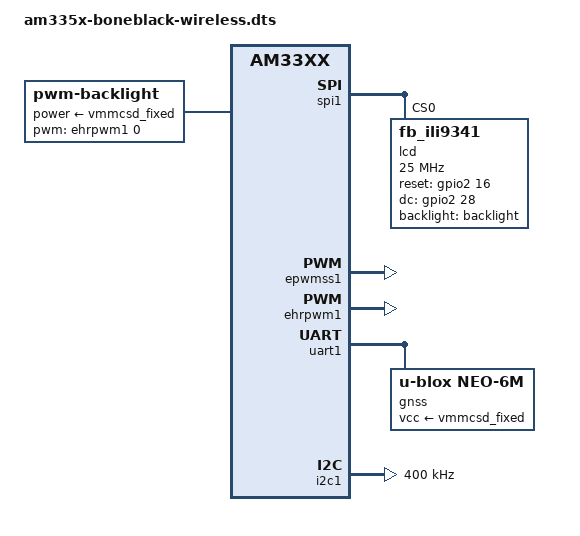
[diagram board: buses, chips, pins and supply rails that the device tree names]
// SPDX-License-Identifier: GPL-2.0-only
/*
 * Copyright (C) 2012 Texas Instruments Incorporated - https://www.ti.com/
 */
/dts-v1/;
 
#include "am33xx.dtsi"
#include "am335x-bone-common.dtsi"
#include "am335x-boneblack-common.dtsi"
/ {
    compatible = "ti,am335x-bone-black", "ti,am335x-bone", "ti,am33xx";
      exclusive-use =
        /* the pin header uses */
        "P8.13",    /* EHRPWM2B - ZONE 6 PWM */
        "P8.19",    /* EHRPWM2A - ZONE 4 PWM */
        "P9.14",    /* EHRPWM1A - ZONE 3 PWM */
        "P9.16",    /* EHRPWM1B - ZONE 5 PWM */
        "P9.21",    /* EHRPWM0A - ZONE 2 PWM */
        "P9.22",    /* EHRPWM0B - ZONE 1 PWM */
        /* the hardware ip uses */
        "ehrpwm0A",
        "ehrpwm0B",
        "ehrpwm1A",
        "ehrpwm1B",
        "ehrpwm2A",
        "ehrpwm2B";
     
    backlight: backlight {
        compatible = "pwm-backlight";
        pinctrl-names = "default";
        pinctrl-0 = <&pwm_bl_pins>;
        pwms = <&ehrpwm1 0 500000 0>;
        pwm-names = "backlight";
        brightness-levels = <0 4 8 16 32 64 128 255>;
        default-brightness-level = <7>; /* index to the array above */
        power-supply = <&vmmcsd_fixed>;
        };
};
 
&am33xx_pinmux {
    spi1_pins: pinmux_spi1_pins{
        pinctrl-single,pins = <
            AM33XX_PADCONF( AM335X_PIN_MCASP0_ACLKX,  PIN_INPUT_PULLUP, MUX_MODE3 )  // P9_31: spi1 clk out
            AM33XX_PADCONF( AM335X_PIN_MCASP0_FSX,    PIN_INPUT_PULLUP, MUX_MODE3 )  // P9_29: spi1 d0 /data in (miso)
            AM33XX_PADCONF( AM335X_PIN_MCASP0_AXR0,   PIN_INPUT_PULLUP, MUX_MODE3 )  // P9_30: spi1 d1 / data out (mosi)
            AM33XX_PADCONF( AM335X_PIN_MCASP0_AHCLKR, PIN_INPUT_PULLUP, MUX_MODE3 )  // P9_28: spi1 cs 0 out
        >;
    };
    uart1_pins: pinmux_uart1_pins {
        pinctrl-single,pins = <
            AM33XX_PADCONF(AM335X_PIN_UART1_RXD, PIN_INPUT_PULLUP, MUX_MODE0)
            AM33XX_PADCONF(AM335X_PIN_UART1_TXD, PIN_OUTPUT_PULLDOWN, MUX_MODE0)
            AM33XX_PADCONF(AM335X_PIN_UART1_CTSN, PIN_INPUT, MUX_MODE0)
            AM33XX_PADCONF(AM335X_PIN_UART1_RTSN, PIN_OUTPUT_PULLDOWN, MUX_MODE0)
        >;
    };
    i2c1_pins: pinmux_i2c1_pins {
        pinctrl-single,pins = <
            AM33XX_PADCONF(AM335X_PIN_SPI0_D1, PIN_INPUT_PULLUP, MUX_MODE2) /* p9.18.i2c1_sda */
            AM33XX_PADCONF(AM335X_PIN_SPI0_CS0, PIN_INPUT_PULLUP, MUX_MODE2)    /* P9.17.i2c1_scl */
        >;
    };
    lcd_ctrl_pins: lcd_ctrl_pins {
        pinctrl-single,pins = <
            AM33XX_PADCONF(AM335X_PIN_GPMC_A0,  PIN_OUTPUT_PULLUP, MUX_MODE7)   /* P9_15: gpio1_16 reset, OUTPUT_PULLUP | MODE7 */
            AM33XX_PADCONF(AM335X_PIN_GPMC_BEN1,  PIN_OUTPUT_PULLUP, MUX_MODE7) /* P9_12: gpio1_28 DC, OUTPUT_PULLUP | MODE7 */
        >;
    };
 
    pwm_bl_pins: pwm_bl_pins {
        pinctrl-single,pins = <
            AM33XX_PADCONF(AM335X_PIN_GPMC_A2, PIN_OUTPUT_PULLDOWN, MUX_MODE6)  /* P9_14: ehrpwm1a, MODE6 */
        >;
    };
};
 
&mac {
    status = "disabled";
};
 
&spi1 {
    status="okay";
    pinctrl-names = "default";
    pinctrl-0 = <&spi1_pins>;
};
 
&spi1 {
    lcd@0{
        reg = <0>;
        compatible = "fb_ili9341";
        status="okay";
        pinctrl-names = "default";
        #address-cells = <1>;
        #size-cells = <0>;
        pinctrl-0 = <&lcd_ctrl_pins>;
        spi-max-frequency = <25000000>;
        rotate = <270>;
        bgr;
        fps = <50>;
        buswidth = <8>;
        reset-gpios = <&gpio2 16 0>;
        dc-gpios = <&gpio2 28 0>;
        debug = <3>;
        backlight = <&backlight>;
        };
    };
 
&epwmss1{
    status = "okay";
    };
 
&ehrpwm1{
    status = "okay";
    };
 
&uart1 {
    status="okay";
    pinctrl-names = "default";
    pinctrl-0 = <&uart1_pins>;
        gnss{
            compatible = "u-blox,neo-6m";
            vcc-supply = <&vmmcsd_fixed>;
            current-speed = <9600>;
        };
    };
 
&i2c1 {
    pinctrl-names = "default";
    pinctrl-0 = <&i2c1_pins>;
    status = "okay";
    compatible = "ti, omap4-i2c";
    reg = <0>;
    clock-frequency = <400000>;
    };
